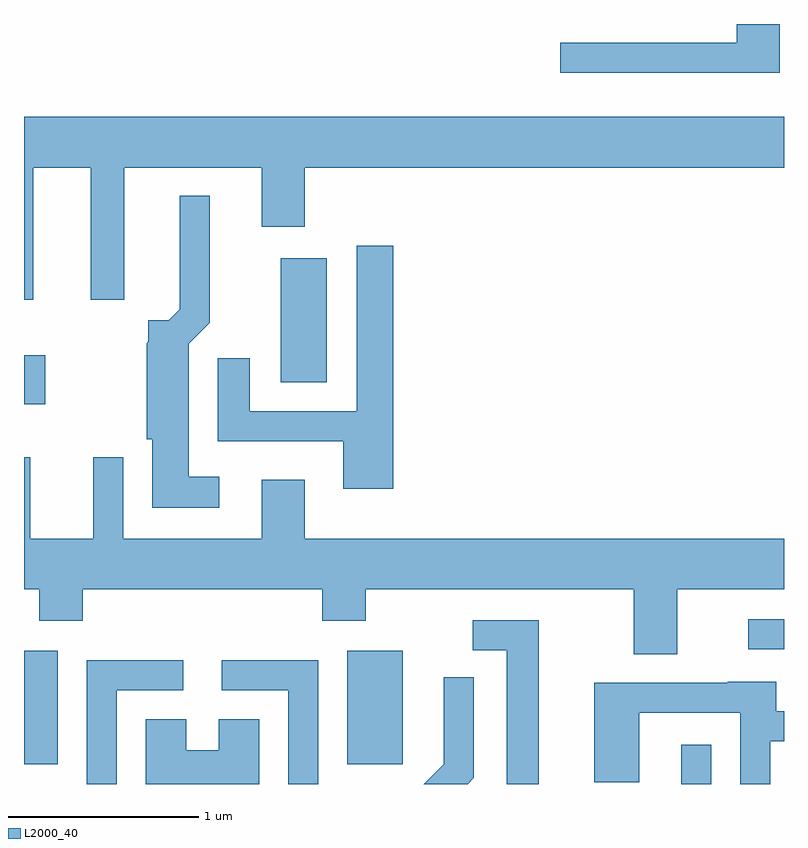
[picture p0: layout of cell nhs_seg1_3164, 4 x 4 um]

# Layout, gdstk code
import gdstk
lib = gdstk.Library(unit=1e-6, precision=1e-09)
def R(c, l, rs):  # rectangles x0, y0, x1, y1
    for r in rs: c.add(gdstk.rectangle(r[:2], r[2:], *l))
def P(c, l, *ps):  # polygons
    for p in ps: c.add(gdstk.Polygon(p, *l))
L2000_40 = (2000, 40)

nhs_seg1_3164 = lib.new_cell('nhs_seg1_3164')
R(nhs_seg1_3164, L2000_40, [(285.071,849.712,285.229,849.918), (281.611,849.816,281.789,850.414), (283.311,849.816,283.604,850.414), (285.423,850.421,285.611,850.579), (281.611,851.711,281.724,851.969), (282.961,851.826,283.204,852.479)])
P(nhs_seg1_3164, L2000_40, [(285.589,853.712),(285.361,853.712),(285.361,853.614),(284.433,853.614),(284.433,853.456),(285.589,853.456)],
  [(281.659,852.956),(281.961,852.956),(281.961,852.261),(282.139,852.261),(282.139,852.956),(282.861,852.956),(282.861,852.646),(283.089,852.646),(283.089,852.956),(285.611,852.956),(285.611,853.224),(281.611,853.224),(281.611,852.261),(281.659,852.261)],
  [(282.638,851.329),(282.479,851.329),(282.479,852.029),(282.589,852.139),(282.589,852.808),(282.431,852.808),(282.431,852.212),(282.374,852.154),(282.266,852.154),(282.266,852.041),(282.256,852.031),(282.256,851.526),(282.286,851.526),(282.286,851.166),(282.638,851.166)],
  [(283.554,852.544),(283.361,852.544),(283.361,851.674),(282.799,851.674),(282.799,851.953),(282.631,851.953),(282.631,851.516),(283.291,851.516),(283.291,851.266),(283.554,851.266)],
  [(285.049,850.736),(285.611,850.736),(285.611,851.004),(283.089,851.004),(283.089,851.314),(282.861,851.314),(282.861,851.004),(282.134,851.004),(282.134,851.433),(281.976,851.433),(281.976,851.004),(281.644,851.004),(281.644,851.433),(281.611,851.433),(281.611,850.736),(281.691,850.736),(281.691,850.571),(281.919,850.571),(281.919,850.736),(283.181,850.736),(283.181,850.571),(283.409,850.571),(283.409,850.736),(284.821,850.736),(284.821,850.396),(285.049,850.396)],
  [(284.319,850.574),(283.973,850.574),(283.973,850.416),(284.151,850.416),(284.151,849.712),(284.319,849.712)],
  [(283.159,850.364),(282.653,850.364),(282.653,850.206),(283.001,850.206),(283.001,849.712),(283.159,849.712)],
  [(282.099,850.206),(282.448,850.206),(282.448,850.364),(281.941,850.364),(281.941,849.712),(282.099,849.712)],
  [(283.979,849.744),(283.979,850.273),(283.821,850.273),(283.821,849.817),(283.716,849.712),(283.947,849.712)],
  [(285.539,849.936),(285.611,849.936),(285.611,850.094),(285.569,850.094),(285.569,850.249),(285.315,850.249),(285.315,850.244),(284.611,850.244),(284.611,849.721),(284.849,849.721),(284.849,850.086),(285.381,850.086),(285.381,849.712),(285.539,849.712)],
  [(282.849,850.054),(282.636,850.054),(282.636,849.889),(282.464,849.889),(282.464,850.054),(282.251,850.054),(282.251,849.712),(282.849,849.712)])

lib.write_gds('nhs_seg1_3164.gds')
